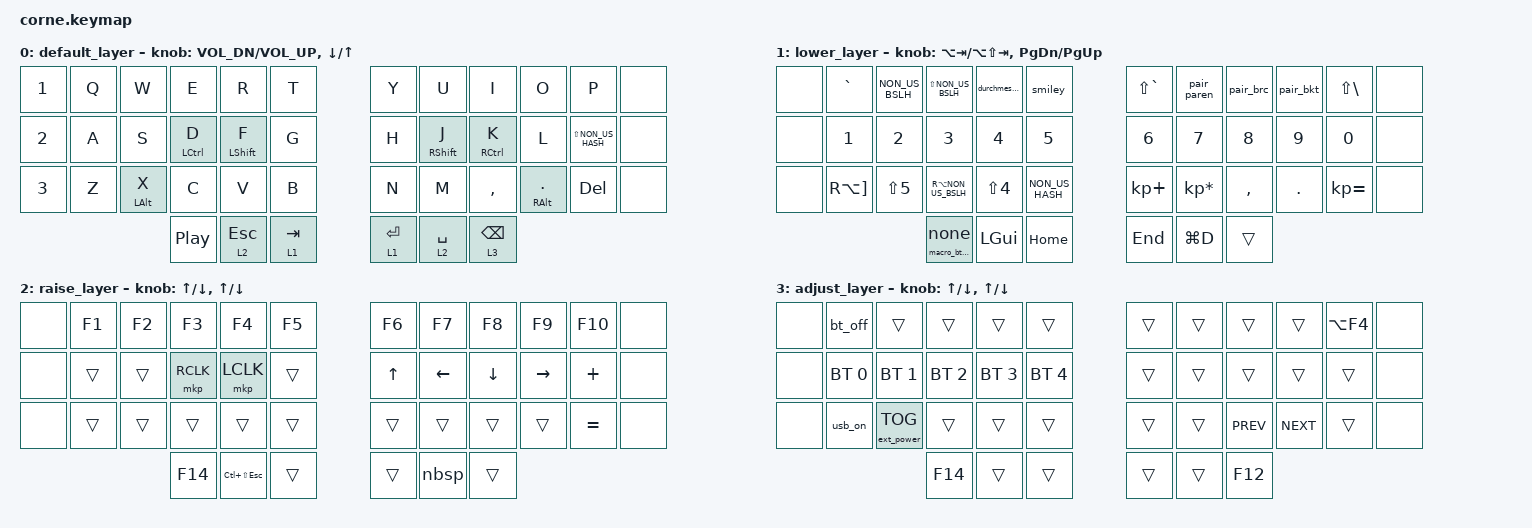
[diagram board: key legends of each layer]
#include <behaviors.dtsi>
#include <dt-bindings/zmk/keys.h>
#include <dt-bindings/zmk/bt.h>
#include <dt-bindings/zmk/ext_power.h>
#include <dt-bindings/zmk/outputs.h>
#include <dt-bindings/zmk/pointing.h>

/ {
    // --- DIESER BLOCK HAT GEFEHLT ---
    macros {
 
        pair_paren: pair_paren {
            compatible = "zmk,behavior-macro";
            #binding-cells = <0>;
            wait-ms = <10>; tap-ms = <10>;
            bindings = <&kp LS(N8)>, <&kp LS(N9)>, <&kp LEFT>;
        };

        pair_brc: pair_brc {
            compatible = "zmk,behavior-macro";
            #binding-cells = <0>;
            wait-ms = <10>; tap-ms = <10>;
            bindings = <&kp RA(N7)>, <&kp RA(N0)>, <&kp LEFT>;
        };

        pair_bkt: pair_bkt {
            compatible = "zmk,behavior-macro";
            #binding-cells = <0>;
            wait-ms = <10>; tap-ms = <10>;
            bindings = <&kp RA(N8)>, <&kp RA(N9)>, <&kp LEFT>;
        };

        usb_on: usb_on { 
            compatible = "zmk,behavior-macro"; 
            #binding-cells = <0>; 
            bindings = <&out OUT_USB>; 
        };

        bt_off: bt_off { 
            compatible = "zmk,behavior-macro"; 
            #binding-cells = <0>; 
            bindings = <&out OUT_BLE>; 
        };

        durchmesser: durchmesser { 
            compatible = "zmk,behavior-macro"; 
            #binding-cells = <0>; 
            bindings = <&macro_press &kp LALT>, <&macro_tap &kp KP_N0 &kp KP_N2 &kp KP_N4 &kp KP_N8>, <&macro_release &kp LALT>; 
        };

        smiley: smiley { 
            compatible = "zmk,behavior-macro";
            #binding-cells = <0>; wait-ms = <20>; 
            tap-ms = <20>; 
            bindings = <&macro_press &kp LSHFT>, <&macro_tap &kp COMMA>, <&macro_release &kp LSHFT>, <&macro_tap &kp SLASH>, <&macro_press &kp LSHFT>, <&macro_tap &kp N9>, <&macro_release &kp LSHFT>; 
        };

        nbsp: nbsp { 
            compatible = "zmk,behavior-macro"; 
            #binding-cells = <0>; wait-ms = <30>; 
            tap-ms = <30>; 
            bindings = <&macro_press &kp LALT>, <&macro_tap &kp KP_N0 &kp KP_N1 &kp KP_N6 &kp KP_N0>, <&macro_release &kp LALT>; 
        };

        macro_bt_clr: macro_bt_clr {
            compatible = "zmk,behavior-macro";
            #binding-cells = <0>;
            bindings = <&bt BT_CLR>;
        };
    }; 
    // --- ENDE DES MAKRO BLOCKS ---

    behaviors {
        caps_wrd: caps_wrd {
            compatible = "zmk,behavior-caps-word";
            #binding-cells = <0>;
            continue-list = <POUND BACKSPACE DEL MINUS UNDERSCORE>; 
        };

        hrm_safe: hrm_safe { 
            compatible = "zmk,behavior-hold-tap"; 
            #binding-cells = <2>; 
            tapping-term-ms = <280>; 
            quick-tap-ms = <175>; 
            flavor = "balanced"; 
            require-prior-idle-ms = <150>; 
            bindings = <&kp>, <&kp>; 
            hold-trigger-on-release; 
        };

        hrm_shift: hrm_shift {
            compatible = "zmk,behavior-hold-tap"; 
            #binding-cells = <2>;
            tapping-term-ms = <180>; 
            quick-tap-ms = <150>; 
            flavor = "balanced"; 
            bindings = <&kp>, <&kp>; 
            hold-trigger-on-release; 
        };

        lt_hp: lt_hp {
            compatible = "zmk,behavior-hold-tap"; 
            #binding-cells = <2>; 
            tapping-term-ms = <200>; 
            quick-tap-ms = <200>;
            flavor = "balanced";
            retro-tap;
            bindings = <&mo>, <&kp>; 
        };

        hw_scroll: hw_scroll {
            compatible = "zmk,behavior-sensor-rotate-var";
            #sensor-binding-cells = <2>;
            bindings = <&msc>, <&msc>; 
            tap-ms = <20>;
        };

        enc_bt_clr: enc_bt_clr {
            compatible = "zmk,behavior-hold-tap";
            #binding-cells = <2>; 
            tapping-term-ms = <5000>; 
            flavor = "tap-preferred";
            bindings = <&macro_bt_clr>, <&none>; 
        };
    }; 

     combos {
        compatible = "zmk,combos";

        // 150ms Pause nach dem letzten Tippen erforderlich (Sicherheit)
        require-prior-idle-ms = <150>; 

        #if 0

        // Pos 1: Col 0 (P0.10) + Row 0 & 2 -> Combo Index 0 & 24
        combo_bt0 {
            timeout-ms = <100>;
            key-positions = <0 24>;
            bindings = <&bt BT_SEL 0>;
        };

        // Pos 2: Col 1 (P0.09) + Row 0 & 2 -> Q + Y (Index 1 & 25)
        combo_bt1 {
            timeout-ms = <100>;
            key-positions = <1 25>;
            bindings = <&bt BT_SEL 1>;
        };

        // Pos 3: Col 2 (P1.11) + Row 0 & 2 -> W + X (Index 2 & 26)
        combo_bt2 {
            timeout-ms = <100>;
            key-positions = <2 26>;
            bindings = <&bt BT_SEL 2>;
        };

        // Pos 4: Col 3 (P1.13) + Row 0 & 2 -> E + C (Index 3 & 27)
        combo_usb {
            timeout-ms = <100>;
            key-positions = <3 27>;
            bindings = <&out OUT_USB>;
        };

        #endif

        // ! (E + D) - Vertikal Mittelfinger
        combo_excl {
            timeout-ms = <40>;
            key-positions = <3 15>;
            bindings = <&kp LS(N1)>;
            layers = <0 1>;
        };

        // Doppelpunkt (:) auf , und .
        combo_colon {
            timeout-ms = <50>;
            key-positions = <32 33>; // Positionen für COMMA und DOT auf dem Corne
            bindings = <&kp LS(DOT)>;
            layers = <0 1>;
        };

        // CREO: Ctrl+Alt auf X und C (Links unten)
        combo_creo_mod {
            timeout-ms = <50>;
            key-positions = <26 27>; // X=26, C=27
            bindings = <&kp LC(LALT)>;
            layers = <0>;
        };

        // Backslash (\) auf K und L
        combo_backslash {
            timeout-ms = <40>;
            key-positions = <20 21>; // K=20, L=21
            bindings = <&kp RA(MINUS)>; // AltGr + ß ergibt \ im DE-Layout
            layers = <0 1>;
        };

        // Slash (/) auf S und D
        combo_slash {
            timeout-ms = <40>;
            key-positions = <14 15>; // K=20, L=21
            bindings = <&kp KP_DIVIDE>;
            layers = <0 1>;
        };

        // Minus/Bindestrich (-) für DE-Layout auf L und SLASH
        combo_minus {
            timeout-ms = <50>;
            key-positions = <21 22>; // L=21, SLASH=22
            bindings = <&kp SLASH>;  // Schickt den Code für die Taste rechts neben dem Punkt (DE: -)
            layers = <0 1>;
        };

        // Unterstrich (_) auf A und S (Links)
        combo_underscore {
            timeout-ms = <40>;
            key-positions = <13 14>; // A=13, S=14
            bindings = <&kp LS(SLASH)>; // Ergibt im DE-Layout den Unterstrich (_)
            layers = <0 1>;
        };

        // Caps Word auf beiden Shift-Tasten (F und J)
        combo_caps_word {
            timeout-ms = <40>;
            key-positions = <16 19>; // F=16, J=19
            bindings = <&caps_wrd>;
            layers = <0>;
        };
        
        // Gänsefüßchen (") auf D und F
        combo_quote {
            timeout-ms = <50>;
            key-positions = <15 16>; // D und F
            bindings = <&kp LS(N2)>; // In DE-Layout meist LS(2) für "
            layers = <0 1>;
        };

        // Fragezeichen (?) auf J und K
        combo_question {
            timeout-ms = <50>;
            key-positions = <19 20>; // J und K
            bindings = <&kp LS(MINUS)>; // In DE-Layout meist LS(_) für ?
            layers = <0 1>;
        };
       
        // Ä (A + Q) - Vertikal linker pinkie
        combo_ae {
            timeout-ms = <55>;
            key-positions = <1 13>; // A=13, Q=1
            bindings = <&kp SQT>;
            layers = <0>;
        };

        // Ö (O + L) - Vertikal rechter Ringfinger
        combo_oe {
            timeout-ms = <50>;
            key-positions = <9 21>; // O=9, L=21
            bindings = <&kp SEMI>;
            layers = <0>;
        };

        // Ü (U + J) - Vertikal rechter Zeigefinger
        combo_ue {
            timeout-ms = <50>;
            key-positions = <7 19>; // U=7, J=19
            bindings = <&kp LBKT>;
            layers = <0>;
        };

        // ß (W + S) - Vertikal nach oben (Linker Ringfinger)
        combo_ss {
            timeout-ms = <50>;
            key-positions = <2 14>; // W=2, S=14
            bindings = <&kp MINUS>;
            layers = <0>;
        };
    };

    keymap {
        compatible = "zmk,keymap";
        default_layer {
            sensor-bindings = <&inc_dec_kp C_VOL_DN C_VOL_UP>, <&inc_dec_kp DOWN UP>;
            bindings = <
&kp N1  &kp Q  &kp W             &kp E              &kp R                &kp T                &kp Y       &kp U                 &kp I               &kp O                &kp P                &none
&kp N2  &kp A  &kp S             &hrm_safe LCTRL D  &hrm_shift LSHIFT F  &kp G                &kp H       &hrm_shift RSHIFT J   &hrm_safe RCTRL K   &kp L                &kp LS(NON_US_HASH)  &none
&kp N3  &kp Z  &hrm_safe LALT X  &kp C              &kp V                &kp B                &kp N       &kp M                 &kp COMMA           &hrm_safe RALT DOT   &kp DEL              &none
                                 &kp C_PP           &lt 2 ESC            &lt 1 TAB            &lt 1 RET   &lt_hp 2 SPACE        &lt_hp 3 BSPC
            >;
        };

        lower_layer {
            sensor-bindings = <&inc_dec_kp LA(TAB) LA(LS(TAB))>, <&inc_dec_kp PG_DN PG_UP>;
            bindings = <
&none  &kp GRAVE     &kp NON_US_BSLH  &kp LS(NON_US_BSLH)  &durchmesser  &smiley             &kp LS(GRAVE) &pair_paren      &pair_brc    &pair_bkt   &kp LS(BSLH)  &none
&none  &kp N1        &kp N2           &kp N3               &kp N4        &kp N5              &kp N6        &kp N7           &kp N8       &kp N9      &kp N0        &none
&none  &kp RA(RBKT)  &kp LS(N5)       &kp RA(NON_US_BSLH)  &kp LS(N4)    &kp NON_US_HASH     &kp KP_PLUS   &kp KP_MULTIPLY  &kp COMMA    &kp DOT     &kp KP_EQUAL  &none
                                      &enc_bt_clr 0 0      &kp LGUI      &kp HOME            &kp END       &kp LG(D)        &trans
            >;
        };

        raise_layer {
            sensor-bindings = <&inc_dec_kp UP DOWN>, <&inc_dec_kp UP DOWN>;
            bindings = <
&none  &kp F1        &kp F2           &kp F3               &kp F4           &kp F5           &kp F6       &kp F7        &kp F8      &kp F9     &kp F10       &none
&none  &trans        &trans           &mkp RCLK            &mkp LCLK        &trans           &kp UP       &kp LEFT      &kp DOWN    &kp RIGHT  &kp PLUS      &none
&none  &trans        &trans           &trans               &trans           &trans           &trans       &trans        &trans      &trans     &kp EQUAL     &none
                                      &kp F14              &kp LC(LS(ESC))  &trans           &trans       &nbsp         &trans
            >;
        };

        adjust_layer {
           sensor-bindings = <&inc_dec_kp UP DOWN>, <&inc_dec_kp UP DOWN>;
           bindings = <
&none  &bt_off       &trans             &trans            &trans         &trans              &trans  &trans  &trans       &trans      &kp LA(F4)  &none
&none  &bt BT_SEL 0  &bt BT_SEL 1       &bt BT_SEL 2      &bt BT_SEL 3   &bt BT_SEL 4        &trans  &trans  &trans       &trans       &trans      &none
&none  &usb_on       &ext_power EP_TOG  &trans            &trans         &trans              &trans  &trans  &kp C_PREV   &kp C_NEXT   &trans      &none
                                        &kp F14           &trans         &trans              &trans  &trans  &kp F12
            >;
        };
    };
};
